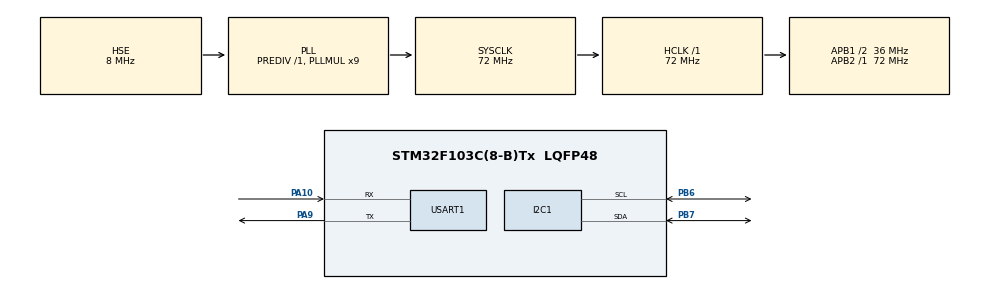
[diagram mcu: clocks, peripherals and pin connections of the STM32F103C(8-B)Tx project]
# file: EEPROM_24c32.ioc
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I2C1.I2C_Mode=I2C_Standard
Mcu.Family=STM32F1
Mcu.Name=STM32F103C(8-B)Tx
Mcu.Package=LQFP48
NVIC.PriorityGroup=NVIC_PRIORITYGROUP_4
PA10.Mode=Asynchronous
PA10.Signal=USART1_RX
PA13.Mode=Serial_Wire
PA13.Signal=SYS_JTMS-SWDIO
PA14.Mode=Serial_Wire
PA14.Signal=SYS_JTCK-SWCLK
PA9.Mode=Asynchronous
PA9.Signal=USART1_TX
PB6.Mode=I2C
PB6.Signal=I2C1_SCL
PB7.Mode=I2C
PB7.Signal=I2C1_SDA
PD0-OSC_IN.Mode=HSE-External-Oscillator
PD0-OSC_IN.Signal=RCC_OSC_IN
PD1-OSC_OUT.Mode=HSE-External-Oscillator
PD1-OSC_OUT.Signal=RCC_OSC_OUT
ProjectManager.HeapSize=0x200
ProjectManager.StackSize=0x400
ProjectManager.TargetToolchain=TrueSTUDIO
RCC.AHBFreq_Value=72000000
RCC.APB1CLKDivider=RCC_HCLK_DIV2
RCC.APB1Freq_Value=36000000
RCC.APB1TimFreq_Value=72000000
RCC.APB2Freq_Value=72000000
RCC.APB2TimFreq_Value=72000000
RCC.HCLKFreq_Value=72000000
RCC.PLLMUL=RCC_PLL_MUL9
RCC.PLLSourceVirtual=RCC_PLLSOURCE_HSE
RCC.SYSCLKFreq_VALUE=72000000
RCC.SYSCLKSource=RCC_SYSCLKSOURCE_PLLCLK
RCC.USBFreq_Value=72000000
USART1.VirtualMode=VM_ASYNC
board=custom

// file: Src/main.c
/* USER CODE BEGIN Header */
/**
  ******************************************************************************
  * @file           : main.c
  * @brief          : Main program body
  ******************************************************************************
  ** This notice applies to any and all portions of this file
  * that are not between comment pairs USER CODE BEGIN and
  * USER CODE END. Other portions of this file, whether
  * inserted by the user or by software development tools
  * are owned by their respective copyright owners.
  *
  * COPYRIGHT(c) 2019 STMicroelectronics
  *
  * Redistribution and use in source and binary forms, with or without modification,
  * are permitted provided that the following conditions are met:
  *   1. Redistributions of source code must retain the above copyright notice,
  *      this list of conditions and the following disclaimer.
  *   2. Redistributions in binary form must reproduce the above copyright notice,
  *      this list of conditions and the following disclaimer in the documentation
  *      and/or other materials provided with the distribution.
  *   3. Neither the name of STMicroelectronics nor the names of its contributors
  *      may be used to endorse or promote products derived from this software
  *      without specific prior written permission.
  *
  * THIS SOFTWARE IS PROVIDED BY THE COPYRIGHT HOLDERS AND CONTRIBUTORS "AS IS"
  * AND ANY EXPRESS OR IMPLIED WARRANTIES, INCLUDING, BUT NOT LIMITED TO, THE
  * IMPLIED WARRANTIES OF MERCHANTABILITY AND FITNESS FOR A PARTICULAR PURPOSE ARE
  * DISCLAIMED. IN NO EVENT SHALL THE COPYRIGHT HOLDER OR CONTRIBUTORS BE LIABLE
  * FOR ANY DIRECT, INDIRECT, INCIDENTAL, SPECIAL, EXEMPLARY, OR CONSEQUENTIAL
  * DAMAGES (INCLUDING, BUT NOT LIMITED TO, PROCUREMENT OF SUBSTITUTE GOODS OR
  * SERVICES; LOSS OF USE, DATA, OR PROFITS; OR BUSINESS INTERRUPTION) HOWEVER
  * CAUSED AND ON ANY THEORY OF LIABILITY, WHETHER IN CONTRACT, STRICT LIABILITY,
  * OR TORT (INCLUDING NEGLIGENCE OR OTHERWISE) ARISING IN ANY WAY OUT OF THE USE
  * OF THIS SOFTWARE, EVEN IF ADVISED OF THE POSSIBILITY OF SUCH DAMAGE.
  *
  ******************************************************************************
  */
/* USER CODE END Header */

#include "main.h"

/* USER CODE BEGIN Includes */
#include "string.h"
#include "epm_24c32.h"
/* USER CODE END Includes */

I2C_HandleTypeDef hi2c1;

UART_HandleTypeDef huart1;

void SystemClock_Config(void);
static void MX_GPIO_Init(void);
static void MX_I2C1_Init(void);
static void MX_USART1_UART_Init(void);

/* USER CODE BEGIN 0 */

void I2C_Scan(I2C_HandleTypeDef *hi2c) // сканирует шину и показывает адреса устройств
{
    char info[] = "Scanning I2C bus...\n";
    HAL_UART_Transmit(&huart1, (uint8_t*)info, strlen(info), 1000);

    for(uint16_t i = 0; i < 128; i++)
    {
        if(HAL_I2C_IsDeviceReady(hi2c, i << 1, 1, 100) == HAL_OK)
        {
        	char msg[64] = {0,};
            snprintf(msg, 64, "Device: 0x%02X\n", i);
            HAL_UART_Transmit(&huart1, (uint8_t*)msg, strlen(msg), 1000);
        }
    }
}

void I2C_Error(char *er, uint32_t status) // ошибки i2c
{
	char str[64] = {0,};

	switch(status)
	{
		case HAL_ERROR:
			snprintf(str, 64, "%s - HAL_ERROR\n", er);
			HAL_UART_Transmit(&huart1, (uint8_t*)str, strlen(str), 1000);
		break;

		case HAL_BUSY:
			snprintf(str, 64, "%s - HAL_BUSY\n", er);
			HAL_UART_Transmit(&huart1, (uint8_t*)str, strlen(str), 1000);
		break;

		case HAL_TIMEOUT:
			snprintf(str, 64, "%s - HAL_TIMEOUT\n", er);
			HAL_UART_Transmit(&huart1, (uint8_t*)str, strlen(str), 1000);
		break;

		default:
		break;
	}

	uint32_t err = HAL_I2C_GetError(&hi2c1);

	switch(err)
	{
		case HAL_I2C_ERROR_NONE:
			snprintf(str, 64, "HAL_I2C_ERROR_NONE\n");
			HAL_UART_Transmit(&huart1, (uint8_t*)str, strlen(str), 1000);
		break;

		case HAL_I2C_ERROR_BERR:
			snprintf(str, 64, "HAL_I2C_ERROR_BERR\n");
			HAL_UART_Transmit(&huart1, (uint8_t*)str, strlen(str), 1000);
		break;

		case HAL_I2C_ERROR_ARLO:
			snprintf(str, 64, "HAL_I2C_ERROR_ARLO\n");
			HAL_UART_Transmit(&huart1, (uint8_t*)str, strlen(str), 1000);
		break;

		case HAL_I2C_ERROR_AF:
			snprintf(str, 64, "HAL_I2C_ERROR_AF\n");
			HAL_UART_Transmit(&huart1, (uint8_t*)str, strlen(str), 1000);
		break;

		case HAL_I2C_ERROR_OVR:
			snprintf(str, 64, "HAL_I2C_ERROR_OVR\n");
			HAL_UART_Transmit(&huart1, (uint8_t*)str, strlen(str), 1000);
		break;

		case HAL_I2C_ERROR_DMA:
			snprintf(str, 64, "HAL_I2C_ERROR_DMA\n");
			HAL_UART_Transmit(&huart1, (uint8_t*)str, strlen(str), 1000);
		break;

		case HAL_I2C_ERROR_TIMEOUT:
			snprintf(str, 64, "HAL_I2C_ERROR_TIMEOUT\n");
			HAL_UART_Transmit(&huart1, (uint8_t*)str, strlen(str), 1000);
		break;

		default:
		break;
	}

	while(1){}; // после вывода ошибки программа зацикливается
}

/* USER CODE END 0 */

int main(void)
{

  /* MCU Configuration--------------------------------------------------------*/

  /* Reset of all peripherals, Initializes the Flash interface and the Systick. */
  HAL_Init();

  /* Configure the system clock */
  SystemClock_Config();

  /* Initialize all configured peripherals */
  MX_GPIO_Init();
  MX_I2C1_Init();
  MX_USART1_UART_Init();
  /* USER CODE BEGIN 2 */

  I2C_Scan(&hi2c1); // НОМЕР I2C

  char wstr[] ="istarik.ru - stD";
  Write_mem(0, wstr, strlen(wstr)); // запись начинается с нулевого адреса (24c32 = 4кБ)

  char rstr[200] = {0,};
  Read_mem(0, rstr, sizeof(rstr)); // читаем с нулевого адреса

  HAL_UART_Transmit(&huart1, (uint8_t*)rstr, strlen(rstr), 1000);
  HAL_UART_Transmit(&huart1, (uint8_t*)"\r\n", 2, 1000);

  /* USER CODE END 2 */

  /* Infinite loop */
  while (1)
  {

  }
}

void SystemClock_Config(void)
{
  RCC_OscInitTypeDef RCC_OscInitStruct = {0};
  RCC_ClkInitTypeDef RCC_ClkInitStruct = {0};

  /**Initializes the CPU, AHB and APB busses clocks
  */
  RCC_OscInitStruct.OscillatorType = RCC_OSCILLATORTYPE_HSE;
  RCC_OscInitStruct.HSEState = RCC_HSE_ON;
  RCC_OscInitStruct.HSEPredivValue = RCC_HSE_PREDIV_DIV1;
  RCC_OscInitStruct.HSIState = RCC_HSI_ON;
  RCC_OscInitStruct.PLL.PLLState = RCC_PLL_ON;
  RCC_OscInitStruct.PLL.PLLSource = RCC_PLLSOURCE_HSE;
  RCC_OscInitStruct.PLL.PLLMUL = RCC_PLL_MUL9;
  if (HAL_RCC_OscConfig(&RCC_OscInitStruct) != HAL_OK)
  {
    Error_Handler();
  }
  /**Initializes the CPU, AHB and APB busses clocks
  */
  RCC_ClkInitStruct.ClockType = RCC_CLOCKTYPE_HCLK|RCC_CLOCKTYPE_SYSCLK
                              |RCC_CLOCKTYPE_PCLK1|RCC_CLOCKTYPE_PCLK2;
  RCC_ClkInitStruct.SYSCLKSource = RCC_SYSCLKSOURCE_PLLCLK;
  RCC_ClkInitStruct.AHBCLKDivider = RCC_SYSCLK_DIV1;
  RCC_ClkInitStruct.APB1CLKDivider = RCC_HCLK_DIV2;
  RCC_ClkInitStruct.APB2CLKDivider = RCC_HCLK_DIV1;

  if (HAL_RCC_ClockConfig(&RCC_ClkInitStruct, FLASH_LATENCY_2) != HAL_OK)
  {
    Error_Handler();
  }
}

static void MX_I2C1_Init(void)
{

  hi2c1.Instance = I2C1;
  hi2c1.Init.ClockSpeed = 100000;
  hi2c1.Init.DutyCycle = I2C_DUTYCYCLE_2;
  hi2c1.Init.OwnAddress1 = 0;
  hi2c1.Init.AddressingMode = I2C_ADDRESSINGMODE_7BIT;
  hi2c1.Init.DualAddressMode = I2C_DUALADDRESS_DISABLE;
  hi2c1.Init.OwnAddress2 = 0;
  hi2c1.Init.GeneralCallMode = I2C_GENERALCALL_DISABLE;
  hi2c1.Init.NoStretchMode = I2C_NOSTRETCH_DISABLE;
  if (HAL_I2C_Init(&hi2c1) != HAL_OK)
  {
    Error_Handler();
  }

}

static void MX_USART1_UART_Init(void)
{

  huart1.Instance = USART1;
  huart1.Init.BaudRate = 115200;
  huart1.Init.WordLength = UART_WORDLENGTH_8B;
  huart1.Init.StopBits = UART_STOPBITS_1;
  huart1.Init.Parity = UART_PARITY_NONE;
  huart1.Init.Mode = UART_MODE_TX_RX;
  huart1.Init.HwFlowCtl = UART_HWCONTROL_NONE;
  huart1.Init.OverSampling = UART_OVERSAMPLING_16;
  if (HAL_UART_Init(&huart1) != HAL_OK)
  {
    Error_Handler();
  }

}

static void MX_GPIO_Init(void)
{

  /* GPIO Ports Clock Enable */
  __HAL_RCC_GPIOD_CLK_ENABLE();
  __HAL_RCC_GPIOA_CLK_ENABLE();
  __HAL_RCC_GPIOB_CLK_ENABLE();

}

void Error_Handler(void)
{
}

/************************ (C) COPYRIGHT STMicroelectronics *****END OF FILE****/
